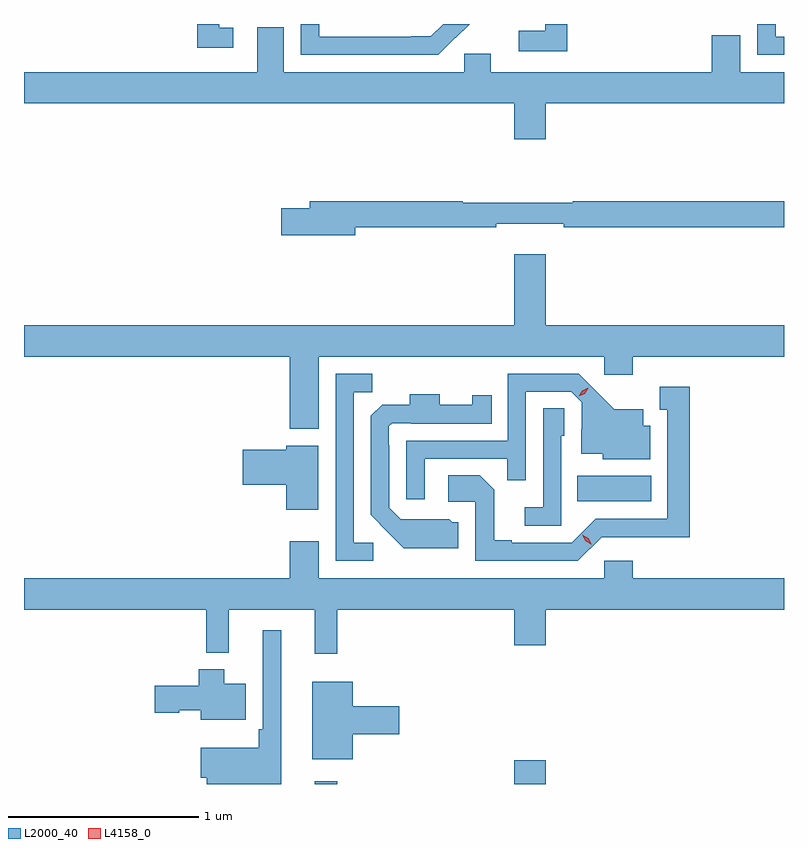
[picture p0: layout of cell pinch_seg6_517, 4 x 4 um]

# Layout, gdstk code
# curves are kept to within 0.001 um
import gdstk
lib = gdstk.Library(unit=1e-6, precision=1e-09)
def R(c, l, rs):  # rectangles x0, y0, x1, y1
    for r in rs: c.add(gdstk.rectangle(r[:2], r[2:], *l))
def P(c, l, *ps):  # polygons
    for p in ps: c.add(gdstk.Polygon(p, *l))
L2000_40 = (2000, 40)
L4158_0 = (4158, 0)

pinch_seg6_517 = lib.new_cell('pinch_seg6_517')
R(pinch_seg6_517, L2000_40, [(787.334,943.754,787.451,943.768), (788.384,943.754,788.548,943.879), (788.716,945.242,789.103,945.376)])
P(pinch_seg6_517, L2000_40, [(789.803,947.688),(789.759,947.688),(789.759,947.754),(789.663,947.754),(789.663,947.592),(789.803,947.592)],
  [(788.663,947.754),(788.546,947.754),(788.546,947.719),(788.406,947.719),(788.406,947.61),(788.663,947.61)],
  [(786.904,947.733),(786.831,947.733),(786.831,947.754),(786.715,947.754),(786.715,947.628),(786.904,947.628)],
  [(788.075,947.683),(788.076,947.682),(788.148,947.754),(788.01,947.754),(787.945,947.689),(787.841,947.689),(787.841,947.688),(787.357,947.688),(787.357,947.754),(787.26,947.754),(787.26,947.592),(787.984,947.592)],
  [(788.548,947.336),(789.803,947.336),(789.803,947.5),(789.574,947.5),(789.574,947.695),(789.422,947.695),(789.422,947.5),(788.26,947.5),(788.26,947.598),(788.121,947.598),(788.121,947.5),(787.171,947.5),(787.171,947.736),(787.031,947.736),(787.031,947.5),(785.803,947.5),(785.803,947.336),(788.384,947.336),(788.384,947.148),(788.548,947.148)],
  [(787.546,946.684),(788.288,946.684),(788.288,946.703),(788.644,946.703),(788.644,946.684),(789.803,946.684),(789.803,946.82),(788.69,946.82),(788.69,946.813),(788.111,946.813),(788.111,946.82),(787.307,946.82),(787.307,946.784),(787.158,946.784),(787.158,946.642),(787.546,946.642)],
  [(787.354,946.004),(788.856,946.004),(788.856,945.909),(789.008,945.909),(789.008,946.004),(789.803,946.004),(789.803,946.168),(788.548,946.168),(788.548,946.543),(788.384,946.543),(788.384,946.168),(785.803,946.168),(785.803,946.004),(787.202,946.004),(787.202,945.624),(787.354,945.624)],
  [(787.911,945.465),(788.347,945.465),(788.347,945.352),(788.445,945.352),(788.445,945.819),(788.682,945.819),(788.739,945.762),(788.739,945.62),(788.735,945.62),(788.735,945.491),(788.85,945.491),(788.85,945.464),(789.1,945.464),(789.1,945.64),(789.061,945.64),(789.061,945.727),(788.909,945.727),(788.722,945.912),(788.349,945.912),(788.349,945.561),(787.815,945.561),(787.815,945.252),(787.911,945.252)],
  [(787.642,945.024),(787.539,945.024),(787.539,945.817),(787.635,945.817),(787.635,945.912),(787.443,945.912),(787.443,944.928),(787.642,944.928)],
  [(788.844,945.054),(789.307,945.053),(789.307,945.844),(789.149,945.844),(789.149,945.723),(789.188,945.723),(789.188,945.15),(788.811,945.15),(788.685,945.024),(788.371,945.024),(788.371,945.037),(788.277,945.037),(788.277,945.304),(788.201,945.38),(788.037,945.38),(788.037,945.24),(788.178,945.24),(788.178,944.928),(788.718,944.928)],
  [(788.089,945.132),(788.058,945.132),(788.042,945.148),(787.785,945.147),(787.725,945.207),(787.725,945.536),(787.722,945.536),(787.722,945.636),(787.74,945.654),(787.84,945.654),(787.84,945.651),(788.264,945.651),(788.264,945.799),(788.163,945.799),(788.163,945.75),(787.99,945.75),(787.99,945.805),(787.832,945.805),(787.832,945.751),(787.688,945.751),(787.629,945.692),(787.629,945.17),(787.801,944.996),(788.089,944.996)],
  [(788.631,945.588),(788.646,945.588),(788.646,945.731),(788.535,945.731),(788.535,945.211),(788.439,945.211),(788.439,945.114),(788.631,945.114)],
  [(787.351,945.535),(787.184,945.535),(787.184,945.512),(786.954,945.512),(786.954,945.329),(787.184,945.329),(787.184,945.198),(787.351,945.198)],
  [(787.451,944.672),(788.384,944.672),(788.384,944.484),(788.548,944.484),(788.548,944.672),(789.803,944.672),(789.803,944.836),(789.008,944.836),(789.008,944.929),(788.856,944.929),(788.856,944.836),(787.354,944.836),(787.354,945.031),(787.202,945.031),(787.202,944.836),(785.803,944.836),(785.803,944.672),(786.763,944.672),(786.763,944.444),(786.881,944.444),(786.881,944.672),(787.334,944.672),(787.334,944.439),(787.451,944.439)],
  [(787.156,944.563),(787.059,944.563),(787.059,944.041),(787.039,944.041),(787.039,943.945),(786.732,943.945),(786.732,943.787),(786.766,943.787),(786.766,943.754),(787.156,943.754)],
  [(786.97,944.281),(786.856,944.281),(786.856,944.359),(786.722,944.359),(786.722,944.271),(786.492,944.271),(786.492,944.129),(786.621,944.129),(786.621,944.141),(786.734,944.141),(786.734,944.093),(786.97,944.093)],
  [(787.534,944.015),(787.777,944.015),(787.777,944.162),(787.534,944.162),(787.534,944.293),(787.319,944.293),(787.319,943.883),(787.534,943.883)])
P(pinch_seg6_517, L4158_0, [(788.79,945.014),(788.758,945.033),(788.74,945.066),(788.74,945.066),(788.741,945.066),(788.772,945.047),(788.79,945.014),(788.79,945.014)],
  [(788.723,945.794),(788.723,945.794),(788.741,945.824),(788.772,945.839),(788.772,945.839),(788.772,945.838),(788.754,945.809),(788.724,945.794)])

lib.write_gds('pinch_seg6_517.gds')
